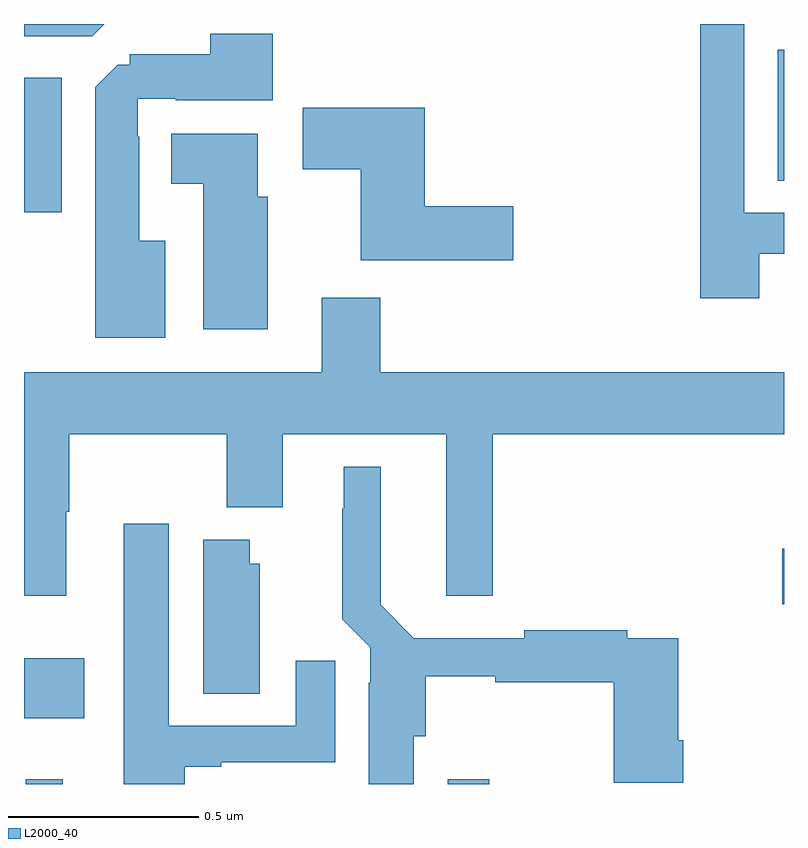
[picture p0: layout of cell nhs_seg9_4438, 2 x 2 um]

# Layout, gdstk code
import gdstk
lib = gdstk.Library(unit=1e-6, precision=1e-09)
def R(c, l, rs):  # rectangles x0, y0, x1, y1
    for r in rs: c.add(gdstk.rectangle(r[:2], r[2:], *l))
def P(c, l, *ps):  # polygons
    for p in ps: c.add(gdstk.Polygon(p, *l))
L2000_40 = (2000, 40)

nhs_seg9_4438 = lib.new_cell('nhs_seg9_4438')
R(nhs_seg9_4438, L2000_40, [(166.005,1195.5,166.102,1195.513), (167.115,1195.5,167.224,1195.513), (166,1195.673,166.159,1195.831), (167.996,1195.973,168,1196.119), (166,1197.005,166.099,1197.358), (167.984,1197.088,168,1197.432)])
P(nhs_seg9_4438, L2000_40, [(167.935,1196.895),(168,1196.895),(168,1197.003),(167.895,1197.003),(167.895,1197.5),(167.779,1197.5),(167.779,1196.778),(167.935,1196.778)],
  [(166.211,1197.5),(166,1197.5),(166,1197.468),(166.179,1197.468)],
  [(166.372,1196.929),(166.303,1196.929),(166.303,1197.203),(166.299,1197.203),(166.299,1197.303),(166.399,1197.303),(166.399,1197.299),(166.654,1197.299),(166.654,1197.475),(166.49,1197.475),(166.49,1197.421),(166.278,1197.421),(166.278,1197.393),(166.247,1197.393),(166.187,1197.333),(166.187,1196.675),(166.372,1196.675)],
  [(167.287,1197.02),(167.054,1197.02),(167.054,1197.28),(166.734,1197.28),(166.734,1197.118),(166.886,1197.118),(166.886,1196.878),(167.287,1196.878)],
  [(166.642,1197.045),(166.615,1197.045),(166.615,1197.211),(166.388,1197.211),(166.388,1197.08),(166.472,1197.08),(166.472,1196.697),(166.642,1196.697)],
  [(166.111,1196.216),(166.119,1196.216),(166.119,1196.42),(166.534,1196.42),(166.534,1196.228),(166.681,1196.228),(166.681,1196.42),(167.111,1196.42),(167.111,1195.995),(167.234,1195.995),(167.234,1196.42),(168,1196.42),(168,1196.584),(166.937,1196.584),(166.937,1196.779),(166.784,1196.779),(166.784,1196.584),(166,1196.584),(166,1196.42),(166.001,1196.42),(166.001,1195.995),(166.111,1195.995)],
  [(167.026,1195.626),(167.057,1195.626),(167.057,1195.783),(167.24,1195.783),(167.24,1195.768),(167.552,1195.768),(167.552,1195.503),(167.735,1195.503),(167.735,1195.615),(167.722,1195.615),(167.722,1195.884),(167.588,1195.884),(167.588,1195.904),(167.317,1195.904),(167.317,1195.884),(167.026,1195.884),(166.939,1195.972),(166.939,1196.335),(166.841,1196.335),(166.841,1196.225),(166.837,1196.225),(166.837,1195.934),(166.911,1195.86),(166.911,1195.766),(166.907,1195.766),(166.907,1195.5),(167.026,1195.5)],
  [(166.423,1195.545),(166.519,1195.545),(166.519,1195.557),(166.819,1195.557),(166.819,1195.825),(166.715,1195.825),(166.715,1195.653),(166.381,1195.653),(166.381,1196.185),(166.262,1196.185),(166.262,1195.5),(166.423,1195.5)],
  [(166.621,1196.079),(166.594,1196.079),(166.594,1196.143),(166.472,1196.143),(166.472,1195.738),(166.621,1195.738)])

lib.write_gds('nhs_seg9_4438.gds')
